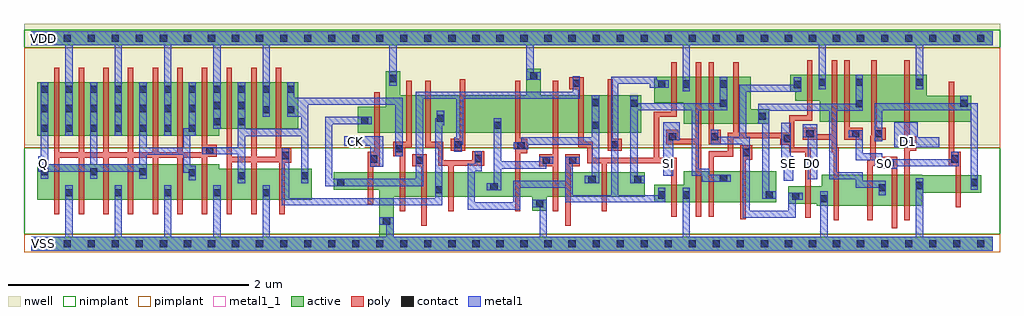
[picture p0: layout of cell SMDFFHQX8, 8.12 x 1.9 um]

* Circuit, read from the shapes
.subckt SMDFFHQX8 CK D0 D1 Q S0 SE SI VDD VSS
M1 VSS n1 Q VSS nfet w=0.295u l=0.045u m=7
M2 n1 n2 VSS VSS nfet w=0.26u l=0.045u m=3
M3 VSS CK n3 VSS nfet w=0.145u l=0.045u
M4 n4 n1 VSS VSS nfet w=0.205u l=0.045u
M5 n2 n3 n4 VSS nfet w=0.205u l=0.045u
M6 n5 n6 n2 VSS nfet w=0.205u l=0.045u
M7 VSS n7 n5 VSS nfet w=0.205u l=0.045u
M8 n8 n5 VSS VSS nfet w=0.205u l=0.045u
M9 n7 n6 n8 VSS nfet w=0.205u l=0.045u
M10 n9 n3 n7 VSS nfet w=0.205u l=0.045u
M11 VSS n3 n6 VSS nfet w=0.145u l=0.045u
M12 n10 SI VSS VSS nfet w=0.26u l=0.045u
M13 n9 SE n10 VSS nfet w=0.26u l=0.045u
M14 n11 n12 n9 VSS nfet w=0.26u l=0.045u
M15 VSS SE n12 VSS nfet w=0.145u l=0.045u
M16 n13 D0 VSS VSS nfet w=0.26u l=0.045u
M17 n11 n14 n13 VSS nfet w=0.26u l=0.045u
M18 n15 S0 n11 VSS nfet w=0.26u l=0.045u
M19 VSS D1 n15 VSS nfet w=0.26u l=0.045u
M20 n14 S0 VSS VSS nfet w=0.145u l=0.045u
M21 VDD n1 Q VDD pfet w=0.445u l=0.045u m=7
M22 n1 n2 VDD VDD pfet w=0.39u l=0.045u m=3
M23 VDD CK n3 VDD pfet w=0.215u l=0.045u
M24 n16 n1 VDD VDD pfet w=0.31u l=0.045u
M25 n2 n6 n16 VDD pfet w=0.31u l=0.045u
M26 n5 n3 n2 VDD pfet w=0.31u l=0.045u
M27 VDD n7 n5 VDD pfet w=0.31u l=0.045u
M28 n17 n5 VDD VDD pfet w=0.31u l=0.045u
M29 n7 n3 n17 VDD pfet w=0.31u l=0.045u
M30 n9 n6 n7 VDD pfet w=0.31u l=0.045u
M31 VDD n3 n6 VDD pfet w=0.215u l=0.045u
M32 n18 SI VDD VDD pfet w=0.39u l=0.045u
M33 n9 n12 n18 VDD pfet w=0.39u l=0.045u
M34 n11 SE n9 VDD pfet w=0.39u l=0.045u
M35 VDD SE n12 VDD pfet w=0.215u l=0.045u
M36 n19 D0 VDD VDD pfet w=0.39u l=0.045u
M37 n11 S0 n19 VDD pfet w=0.39u l=0.045u
M38 n20 n14 n11 VDD pfet w=0.39u l=0.045u
M39 VDD D1 n20 VDD pfet w=0.39u l=0.045u
M40 n14 S0 VDD VDD pfet w=0.215u l=0.045u
.ends

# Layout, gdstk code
import gdstk
lib = gdstk.Library(unit=1e-6, precision=5e-10)
def R(c, l, rs):  # rectangles x0, y0, x1, y1
    for r in rs: c.add(gdstk.rectangle(r[:2], r[2:], *l))
def A(c, l, x, y, w, h, nx, ny, dx, dy):  # array of equal rectangles
    R(c, l, [(x+i*dx, y+j*dy, x+i*dx+w, y+j*dy+h) for i in range(nx) for j in range(ny)])
def P(c, l, *ps):  # polygons
    for p in ps: c.add(gdstk.Polygon(p, *l))
active = (1, 0)
nwell = (2, 0)
poly = (3, 0)
nimplant = (4, 0)
pimplant = (5, 0)
contact = (6, 0)
metal1 = (7, 0)
metal1_1 = (7, 1)

smdffhqx8 = lib.new_cell('SMDFFHQX8')
R(smdffhqx8, active, [(0,1.65,8,1.77)])
P(smdffhqx8, active, [(0.05,1.345),(2.22,1.345),(2.22,0.955),(1.565,0.955),(1.565,0.9),(0.05,0.9)],
  [(2.95,1.435),(3.07,1.435),(3.07,1.235),(4.12,1.235),(4.12,1.455),(4.24,1.455),(4.24,1.235),(5.075,1.235),(5.075,0.925),(2.715,0.925),(2.715,1.14),(2.95,1.14)],
  [(6.315,1.405),(7.45,1.405),(7.45,1.23),(7.82,1.23),(7.82,1.015),(6.56,1.015),(6.56,1.19),(6.355,1.19),(6.355,1.265),(6.315,1.265)],
  [(5.185,1.39),(5.985,1.39),(5.985,1.12),(6.14,1.12),(6.14,1),(5.43,1),(5.43,1.175),(5.185,1.175)],
  [(0.05,0.66),(1.565,0.66),(1.565,0.625),(2.335,0.625),(2.335,0.365),(0.05,0.365)],
  [(2.515,0.595),(5.105,0.595),(5.105,0.39),(4.29,0.39),(4.29,0.275),(4.17,0.275),(4.17,0.39),(3.015,0.39),(3.015,0.06),(8,0.06),(8,-0.06),(0,-0.06),(0,0.06),(2.895,0.06),(2.895,0.45),(2.515,0.45)],
  [(5.43,0.605),(6.2,0.605),(6.2,0.345),(5.185,0.345),(5.185,0.49),(5.43,0.49)],
  [(6.575,0.575),(7.41,0.575),(7.41,0.57),(7.905,0.57),(7.905,0.425),(7.41,0.425),(7.41,0.315),(6.535,0.315),(6.535,0.335),(6.3,0.335),(6.3,0.48),(6.575,0.48)])
R(smdffhqx8, nwell, [(-0.06,0.82,8.06,1.83)])
P(smdffhqx8, poly, [(0.19,1.465),(0.235,1.465),(0.235,0.76),(0.395,0.76),(0.395,1.465),(0.44,1.465),(0.44,0.76),(0.6,0.76),(0.6,1.465),(0.645,1.465),(0.645,0.76),(0.805,0.76),(0.805,1.465),(0.85,1.465),(0.85,0.76),(1.01,0.76),(1.01,1.465),(1.055,1.465),(1.055,0.76),(1.215,0.76),(1.215,1.465),(1.26,1.465),(1.26,0.76),(1.42,0.76),(1.42,1.465),(1.465,1.465),(1.465,0.825),(1.545,0.825),(1.545,0.725),(1.465,0.725),(1.465,0.245),(1.42,0.245),(1.42,0.715),(1.26,0.715),(1.26,0.245),(1.215,0.245),(1.215,0.715),(1.055,0.715),(1.055,0.245),(1.01,0.245),(1.01,0.715),(0.85,0.715),(0.85,0.245),(0.805,0.245),(0.805,0.715),(0.645,0.715),(0.645,0.245),(0.6,0.245),(0.6,0.715),(0.44,0.715),(0.44,0.245),(0.395,0.245),(0.395,0.715),(0.235,0.715),(0.235,0.245),(0.19,0.245)],
  [(1.625,1.465),(1.67,1.465),(1.67,0.725),(1.83,0.725),(1.83,1.465),(1.875,1.465),(1.875,0.725),(2.035,0.725),(2.035,1.465),(2.08,1.465),(2.08,0.795),(2.165,0.795),(2.165,0.675),(2.11,0.675),(2.11,0.245),(2.065,0.245),(2.065,0.68),(1.875,0.68),(1.875,0.245),(1.83,0.245),(1.83,0.68),(1.67,0.68),(1.67,0.245),(1.625,0.245)],
  [(4.475,1.385),(4.595,1.385),(4.595,0.85),(4.67,0.85),(4.67,0.715),(5.18,0.715),(5.18,1.1),(5.325,1.1),(5.325,1.51),(5.37,1.51),(5.37,1.055),(5.225,1.055),(5.225,0.715),(5.37,0.715),(5.37,0.225),(5.325,0.225),(5.325,0.67),(4.79,0.67),(4.79,0.27),(4.745,0.27),(4.745,0.67),(4.625,0.67),(4.625,0.805),(4.55,0.805),(4.55,1.285),(4.475,1.285)],
  [(2.855,1.26),(2.9,1.26),(2.9,0.645),(2.845,0.645),(2.845,0.33),(2.8,0.33),(2.8,0.765),(2.855,0.765)],
  [(3.12,1.355),(3.165,1.355),(3.165,0.805),(3.11,0.805),(3.11,0.27),(3.065,0.27),(3.065,0.73),(3.01,0.73),(3.01,0.85),(3.12,0.85)],
  [(3.28,1.355),(3.325,1.355),(3.325,0.85),(3.43,0.85),(3.43,0.695),(3.67,0.695),(3.67,0.77),(3.77,0.77),(3.77,0.65),(3.515,0.65),(3.515,0.27),(3.47,0.27),(3.47,0.65),(3.385,0.65),(3.385,0.805),(3.28,0.805)],
  [(3.565,1.37),(3.61,1.37),(3.61,0.775),(3.49,0.775),(3.49,0.875),(3.565,0.875)],
  [(4.025,1.355),(4.07,1.355),(4.07,0.875),(4.125,0.875),(4.125,0.755),(4.07,0.755),(4.07,0.27),(4.025,0.27)],
  [(4.34,1.355),(4.385,1.355),(4.385,0.27),(4.34,0.27),(4.34,0.645),(4.225,0.645),(4.225,0.745),(4.34,0.745)],
  [(5.285,0.95),(5.385,0.95),(5.385,0.875),(5.53,0.875),(5.53,1.51),(5.575,1.51),(5.575,0.225),(5.53,0.225),(5.53,0.83),(5.285,0.83)],
  [(5.635,1.51),(5.68,1.51),(5.68,0.95),(5.735,0.95),(5.735,0.83),(5.635,0.83)],
  [(5.84,1.51),(5.885,1.51),(5.885,0.925),(6.305,0.925),(6.305,1.07),(6.455,1.07),(6.455,1.525),(6.5,1.525),(6.5,1.025),(6.35,1.025),(6.35,0.805),(6.485,0.805),(6.485,0.215),(6.44,0.215),(6.44,0.76),(6.305,0.76),(6.305,0.825),(6.23,0.825),(6.23,0.88),(5.84,0.88),(5.84,0.725),(5.68,0.725),(5.68,0.225),(5.635,0.225),(5.635,0.77),(5.795,0.77),(5.795,0.925),(5.84,0.925)],
  [(6.42,0.965),(6.54,0.965),(6.54,0.91),(6.66,0.91),(6.66,1.525),(6.705,1.525),(6.705,0.805),(6.72,0.805),(6.72,0.195),(6.675,0.195),(6.675,0.76),(6.66,0.76),(6.66,0.865),(6.42,0.865)],
  [(6.765,1.525),(6.81,1.525),(6.81,0.965),(6.92,0.965),(6.92,0.865),(6.765,0.865)],
  [(6.99,1.525),(7.035,1.525),(7.035,0.965),(7.11,0.965),(7.11,0.865),(7.025,0.865),(7.025,0.65),(7,0.65),(7,0.195),(6.955,0.195),(6.955,0.695),(6.98,0.695),(6.98,0.9),(6.99,0.9)],
  [(7.265,1.525),(7.31,1.525),(7.31,0.895),(7.365,0.895),(7.365,0.775),(7.31,0.775),(7.31,0.195),(7.265,0.195)],
  [(4.795,1.37),(4.84,1.37),(4.84,0.875),(4.915,0.875),(4.915,0.775),(4.795,0.775)],
  [(7.635,1.35),(7.68,1.35),(7.68,0.765),(7.735,0.765),(7.735,0.305),(7.69,0.305),(7.69,0.645),(7.635,0.645)],
  [(5.9,0.82),(6,0.82),(6,0.7),(5.945,0.7),(5.945,0.205),(5.9,0.205)],
  [(3.17,0.745),(3.29,0.745),(3.29,0.15),(3.245,0.15),(3.245,0.645),(3.17,0.645)],
  [(4.445,0.745),(4.565,0.745),(4.565,0.645),(4.49,0.645),(4.49,0.15),(4.445,0.15)],
  [(7.085,0.725),(7.205,0.725),(7.205,0.13),(7.16,0.13),(7.16,0.625),(7.085,0.625)])
R(smdffhqx8, nimplant, [(-0.06,0.08,8.06,0.8), (-0.06,1.63,8.06,1.78)])
R(smdffhqx8, pimplant, [(-0.06,-0.07,8.06,0.08), (-0.06,0.8,8.06,1.63)])
A(smdffhqx8, contact, 0.07, -0.03, 0.06, 0.06, 40, 2, 0.2, 1.71)
A(smdffhqx8, contact, 0.285, 0.395, 0.06, 0.06, 5, 1, 0.41, 0)
A(smdffhqx8, contact, 0.08, 0.57, 0.06, 0.06, 3, 1, 0.41, 0)
A(smdffhqx8, contact, 0.08, 0.93, 0.06, 0.06, 7, 2, 0.205, 0.165)
A(smdffhqx8, contact, 0.08, 1.255, 0.06, 0.06, 11, 1, 0.205, 0)
R(smdffhqx8, contact, [(2.925,0.16,2.985,0.22), (4.2,0.305,4.26,0.365), (6.565,0.345,6.625,0.405), (6.33,0.365,6.39,0.425), (5.215,0.375,5.275,0.435), (5.42,0.375,5.48,0.435), (6.11,0.375,6.17,0.435), (3.36,0.42,3.42,0.48), (7.05,0.435,7.11,0.495), (3.82,0.445,3.88,0.505), (7.36,0.455,7.42,0.515), (2.545,0.48,2.605,0.54), (7.815,0.48,7.875,0.54), (4.635,0.505,4.695,0.565), (5.015,0.505,5.075,0.565), (5.73,0.515,5.79,0.575), (1.72,0.535,1.78,0.595), (2.245,0.535,2.305,0.595), (1.31,0.56,1.37,0.62), (7.115,0.645,7.175,0.705), (3.2,0.665,3.26,0.725), (4.255,0.665,4.315,0.725), (4.475,0.665,4.535,0.725), (2.82,0.675,2.88,0.735), (7.655,0.675,7.715,0.735), (3.69,0.68,3.75,0.74), (2.085,0.705,2.145,0.765), (5.92,0.73,5.98,0.79), (1.455,0.745,1.515,0.805), (3.03,0.76,3.09,0.82), (4.045,0.785,4.105,0.845), (3.52,0.795,3.58,0.855), (4.825,0.795,4.885,0.855), (7.285,0.805,7.345,0.865), (6.26,0.845,6.32,0.905), (5.305,0.86,5.365,0.92), (5.655,0.86,5.715,0.92), (6.45,0.885,6.51,0.945), (6.83,0.885,6.89,0.945), (7.02,0.885,7.08,0.945), (3.85,0.955,3.91,1.015), (4.665,0.955,4.725,1.015), (1.515,0.985,1.575,1.045), (1.72,0.985,1.78,1.045), (2.745,0.995,2.805,1.055), (3.375,1.015,3.435,1.075), (6.05,1.03,6.11,1.09), (1.925,1.085,1.985,1.145), (2.13,1.085,2.19,1.145), (1.515,1.12,1.575,1.18), (1.72,1.12,1.78,1.18), (6.86,1.135,6.92,1.195), (4.985,1.14,5.045,1.2), (5.73,1.14,5.79,1.2), (7.73,1.14,7.79,1.2), (4.665,1.145,4.725,1.205), (6.345,1.295,6.405,1.355), (5.215,1.3,5.275,1.36), (5.42,1.3,5.48,1.36), (5.73,1.3,5.79,1.36), (4.505,1.305,4.565,1.365), (6.55,1.315,6.61,1.375), (6.86,1.315,6.92,1.375), (7.36,1.315,7.42,1.375), (2.98,1.345,3.04,1.405), (4.15,1.365,4.21,1.425)])
P(smdffhqx8, metal1, [(0,1.77),(8,1.77),(8,1.65),(7.42,1.65),(7.42,1.285),(7.36,1.285),(7.36,1.65),(6.61,1.65),(6.61,1.285),(6.55,1.285),(6.55,1.65),(5.48,1.65),(5.48,1.27),(5.42,1.27),(5.42,1.65),(4.18,1.65),(4.18,1.425),(4.24,1.425),(4.24,1.365),(4.12,1.365),(4.12,1.65),(3.04,1.65),(3.04,1.315),(2.98,1.315),(2.98,1.65),(1.985,1.65),(1.985,1.055),(1.925,1.055),(1.925,1.65),(1.575,1.65),(1.575,0.955),(1.515,0.955),(1.515,1.65),(1.165,1.65),(1.165,0.9),(1.105,0.9),(1.105,1.65),(0.755,1.65),(0.755,0.9),(0.695,0.9),(0.695,1.65),(0.345,1.65),(0.345,0.9),(0.285,0.9),(0.285,1.65),(0,1.65)],
  [(0.08,1.345),(0.14,1.345),(0.14,0.66),(0.49,0.66),(0.49,1.345),(0.55,1.345),(0.55,0.66),(0.9,0.66),(0.9,1.345),(0.96,1.345),(0.96,0.8),(1.265,0.8),(1.265,0.96),(1.31,0.96),(1.31,1.345),(1.37,1.345),(1.37,0.9),(1.325,0.9),(1.325,0.65),(1.37,0.65),(1.37,0.53),(1.31,0.53),(1.31,0.59),(1.265,0.59),(1.265,0.74),(0.96,0.74),(0.96,0.54),(0.9,0.54),(0.9,0.6),(0.55,0.6),(0.55,0.54),(0.49,0.54),(0.49,0.6),(0.14,0.6),(0.14,0.54),(0.08,0.54),(0.08,0.6),(0.06,0.6),(0.06,0.73),(0.08,0.73)],
  [(1.72,1.345),(1.78,1.345),(1.78,0.955),(2.245,0.955),(2.245,1.055),(2.13,1.055),(2.13,1.345),(2.19,1.345),(2.19,1.215),(3.09,1.215),(3.09,0.73),(3.03,0.73),(3.03,1.155),(2.305,1.155),(2.305,0.505),(2.245,0.505),(2.245,0.895),(1.78,0.895),(1.78,0.505),(1.72,0.505),(1.72,0.745),(1.425,0.745),(1.425,0.805),(1.72,0.805)],
  [(4.505,1.395),(4.565,1.395),(4.565,1.205),(3.595,1.205),(3.595,0.825),(3.58,0.825),(3.58,0.765),(3.52,0.765),(3.52,0.885),(3.535,0.885),(3.535,1.205),(3.26,1.205),(3.26,0.48),(2.445,0.48),(2.445,1.055),(2.835,1.055),(2.835,0.995),(2.505,0.995),(2.505,0.54),(3.2,0.54),(3.2,1.265),(4.505,1.265)],
  [(0.285,0.485),(0.345,0.485),(0.345,0.06),(0.695,0.06),(0.695,0.485),(0.755,0.485),(0.755,0.06),(1.105,0.06),(1.105,0.485),(1.165,0.485),(1.165,0.06),(1.515,0.06),(1.515,0.485),(1.575,0.485),(1.575,0.06),(1.925,0.06),(1.925,0.485),(1.985,0.485),(1.985,0.06),(2.955,0.06),(2.955,0.16),(2.895,0.16),(2.895,0.22),(3.015,0.22),(3.015,0.06),(4.23,0.06),(4.23,0.305),(4.17,0.305),(4.17,0.365),(4.29,0.365),(4.29,0.06),(5.42,0.06),(5.42,0.465),(5.48,0.465),(5.48,0.06),(6.565,0.06),(6.565,0.435),(6.625,0.435),(6.625,0.06),(7.36,0.06),(7.36,0.545),(7.42,0.545),(7.42,0.06),(8,0.06),(8,-0.06),(0,-0.06),(0,0.06),(0.285,0.06)],
  [(3.375,1.105),(3.435,1.105),(3.435,0.985),(3.42,0.985),(3.42,0.32),(2.085,0.32),(2.085,0.795),(2.145,0.795),(2.145,0.38),(3.36,0.38),(3.36,1.045),(3.375,1.045)],
  [(2.605,0.895),(2.93,0.895),(2.93,0.64),(2.82,0.64),(2.82,0.815),(2.605,0.815)],
  [(4.825,1.39),(5.205,1.39),(5.205,1.36),(5.305,1.36),(5.305,1.3),(5.145,1.3),(5.145,1.33),(4.885,1.33),(4.885,0.405),(5.215,0.405),(5.215,0.465),(5.275,0.465),(5.275,0.345),(4.445,0.345),(4.445,0.465),(4.07,0.465),(4.07,0.285),(3.63,0.285),(3.63,0.665),(3.69,0.665),(3.69,0.77),(3.75,0.77),(3.75,0.605),(3.69,0.605),(3.69,0.345),(4.01,0.345),(4.01,0.525),(4.445,0.525),(4.445,0.725),(4.565,0.725),(4.565,0.665),(4.505,0.665),(4.505,0.405),(4.825,0.405)],
  [(4.665,1.235),(4.725,1.235),(4.725,0.505),(4.605,0.505),(4.605,0.565),(4.665,0.565),(4.665,0.825),(4.135,0.825),(4.135,0.785),(4.015,0.785),(4.015,0.845),(4.075,0.845),(4.075,0.885),(4.665,0.885)],
  [(3.85,1.045),(3.91,1.045),(3.91,0.685),(4.225,0.685),(4.225,0.725),(4.345,0.725),(4.345,0.665),(4.285,0.665),(4.285,0.625),(3.91,0.625),(3.91,0.445),(3.79,0.445),(3.79,0.505),(3.85,0.505)],
  [(6.345,1.385),(6.405,1.385),(6.405,1.265),(5.95,1.265),(5.95,0.89),(5.98,0.89),(5.98,0.275),(6.3,0.275),(6.3,0.425),(6.42,0.425),(6.42,0.365),(6.36,0.365),(6.36,0.215),(5.92,0.215),(5.92,0.83),(5.655,0.83),(5.655,0.95),(5.715,0.95),(5.715,0.89),(5.89,0.89),(5.89,1.325),(6.345,1.325)],
  [(4.985,1.23),(5.045,1.23),(5.045,1.17),(5.73,1.17),(5.73,1.39),(5.79,1.39),(5.79,1.11),(5.555,1.11),(5.555,0.625),(5.64,0.625),(5.64,0.575),(5.82,0.575),(5.82,0.515),(5.58,0.515),(5.58,0.565),(5.495,0.565),(5.495,1.11),(5.045,1.11),(5.045,0.565),(5.105,0.565),(5.105,0.505),(4.985,0.505)],
  [(5.26,1.01),(5.395,1.01),(5.395,0.86),(5.34,0.86),(5.34,0.565),(5.26,0.565)],
  [(6.86,1.405),(6.92,1.405),(6.92,1.105),(6.7,1.105),(6.7,0.595),(6.92,0.595),(6.92,0.525),(7.11,0.525),(7.11,0.405),(7.05,0.405),(7.05,0.465),(6.86,0.465),(6.86,0.535),(6.64,0.535),(6.64,1.105),(6.14,1.105),(6.14,0.435),(6.2,0.435),(6.2,0.375),(6.08,0.375),(6.08,1),(6.05,1),(6.05,1.165),(6.86,1.165)],
  [(7.73,1.23),(7.79,1.23),(7.79,1.17),(7.875,1.17),(7.875,0.45),(7.815,0.45),(7.815,1.11),(7.08,1.11),(7.08,0.855),(7.02,0.855),(7.02,1.17),(7.73,1.17)],
  [(6.24,1.005),(6.32,1.005),(6.32,0.73),(6.34,0.73),(6.34,0.525),(6.26,0.525),(6.26,0.65),(6.24,0.65)],
  [(6.42,0.995),(6.54,0.995),(6.54,0.535),(6.46,0.535),(6.46,0.885),(6.42,0.885)],
  [(6.8,0.945),(6.92,0.945),(6.92,0.755),(7.08,0.755),(7.08,0.705),(7.655,0.705),(7.655,0.765),(7.715,0.765),(7.715,0.645),(7.205,0.645),(7.205,0.625),(7.035,0.625),(7.035,0.645),(7.02,0.645),(7.02,0.695),(6.86,0.695),(6.86,0.885),(6.8,0.885)],
  [(7.18,1.01),(7.375,1.01),(7.375,0.885),(7.555,0.885),(7.555,0.805),(7.18,0.805)])
R(smdffhqx8, metal1_1, [(0.06,-0.04,0.14,0.04), (0.06,0.625,0.14,0.705), (5.26,0.625,5.34,0.705), (6.26,0.625,6.34,0.705), (6.46,0.625,6.54,0.705), (7.06,0.625,7.14,0.705), (2.66,0.815,2.74,0.895), (7.26,0.815,7.34,0.895), (0.06,1.67,0.14,1.75)])
smdffhqx8.add(gdstk.Label('S0', (7.1,0.665), layer=7, texttype=1))
smdffhqx8.add(gdstk.Label('D1', (7.3,0.855), layer=7, texttype=1))
smdffhqx8.add(gdstk.Label('D0', (6.5,0.665), layer=7, texttype=1))
smdffhqx8.add(gdstk.Label('SE', (6.3,0.665), layer=7, texttype=1))
smdffhqx8.add(gdstk.Label('SI', (5.3,0.665), layer=7, texttype=1))
smdffhqx8.add(gdstk.Label('CK', (2.7,0.855), layer=7, texttype=1))
smdffhqx8.add(gdstk.Label('Q', (0.1,0.665), layer=7, texttype=1))
smdffhqx8.add(gdstk.Label('VDD', (0.1,1.71), layer=7, texttype=1))
smdffhqx8.add(gdstk.Label('VSS', (0.1,0), layer=7, texttype=1))
smdffhqx8.add(gdstk.Label('SMDFFHQX8', (0,0), layer=63, texttype=0))

lib.write_gds('SMDFFHQX8.gds')
